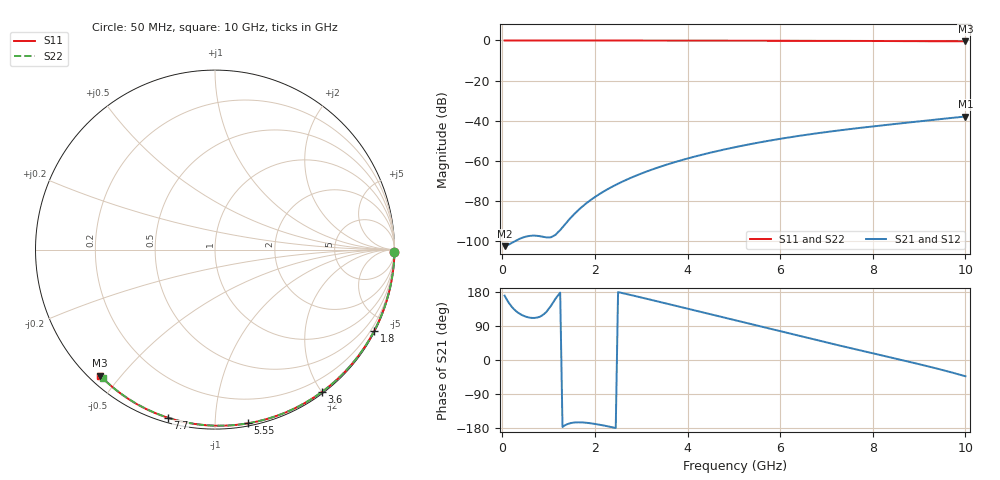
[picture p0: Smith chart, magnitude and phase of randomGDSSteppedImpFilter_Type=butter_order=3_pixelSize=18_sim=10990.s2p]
! freq	dB(S11)	phase(S11)	dB(S12)	phase(S12)
!  dB(S21)	phase(S21)	dB(S22)	phase(S22)
!S-par simulation data
#  GHz  S  DB  R 50
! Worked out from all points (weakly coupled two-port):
!   200 points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, 50 MHz to 10 GHz, reference 50 ohm
!   highest |S21| = -37.90 dB at 10 GHz (marker M1); lowest = -102.5 dB at 50 MHz (marker M2)
!   lowest |S11| = -0.5 dB at 10 GHz (marker M3), VSWR 38.54, Z = 1.55 - j22.1 ohm
!   |S11| at or under -10 dB: nowhere
!   |S22| runs from -0.4 to 0.0 dB; largest |S21 - S12| = 0
!   S11 on the Smith chart (normalised r, x): 50 MHz: open; 1.8 GHz: 0.04, -4.14; 3.6 GHz: 0.02, -2.00; 5.55 GHz: 0.02, -1.21; 7.7 GHz: 0.02, -0.76; 10 GHz: 0.03, -0.44
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0.05  -0.00 -0.8  -102.51 169.8  -102.51 169.8  -0.00 -0.8
0.9  -0.02 -13.7  -97.94 121.3  -97.94 121.3  -0.02 -13.6
1.75  -0.03 -26.4  -82.35 -164.9  -82.35 -164.9  -0.03 -26.1
1.8  -0.03 -27.1  -81.41 -165.4  -81.41 -165.4  -0.03 -26.9
1.85  -0.04 -27.9  -80.51 -166.1  -80.51 -166.1  -0.04 -27.6
1.9  -0.04 -28.6  -79.65 -166.8  -79.65 -166.8  -0.04 -28.3
2.05  -0.04 -30.8  -77.26 -169.7  -77.26 -169.7  -0.04 -30.5
2.25  -0.04 -33.7  -74.44 -174.3  -74.44 -174.3  -0.04 -33.4
2.45  -0.05 -36.7  -71.95 -179.5  -71.95 -179.5  -0.05 -36.3
2.65  -0.05 -39.5  -69.73 175.0  -69.73 175.0  -0.05 -39.2
3  -0.06 -44.6  -66.33 165.0  -66.33 165.0  -0.06 -44.2
3.4  -0.07 -50.2  -63.00 153.3  -63.00 153.3  -0.07 -49.8
3.6  -0.07 -53.0  -61.51 147.3  -61.51 147.3  -0.07 -52.5
4.3  -0.09 -62.7  -57.01 126.5  -57.01 126.5  -0.09 -62.1
5.05  -0.11 -72.7  -53.07 104.1  -53.07 104.1  -0.11 -72.0
5.55  -0.13 -79.2  -50.82 89.2  -50.82 89.2  -0.13 -78.5
6.1  -0.15 -86.2  -48.65 72.8  -48.65 72.8  -0.15 -85.4
6.7  -0.18 -93.7  -46.57 55.1  -46.57 55.1  -0.18 -92.9
7.7  -0.24 -105.8  -43.63 26.2  -43.63 26.2  -0.24 -104.8
8.35  -0.29 -113.4  -41.94 7.7  -41.94 7.7  -0.29 -112.4
9.15  -0.36 -122.6  -39.95 -15.4  -39.95 -15.4  -0.36 -121.6
10  -0.45 -132.3  -37.90 -42.9  -37.90 -42.9  -0.43 -131.2
